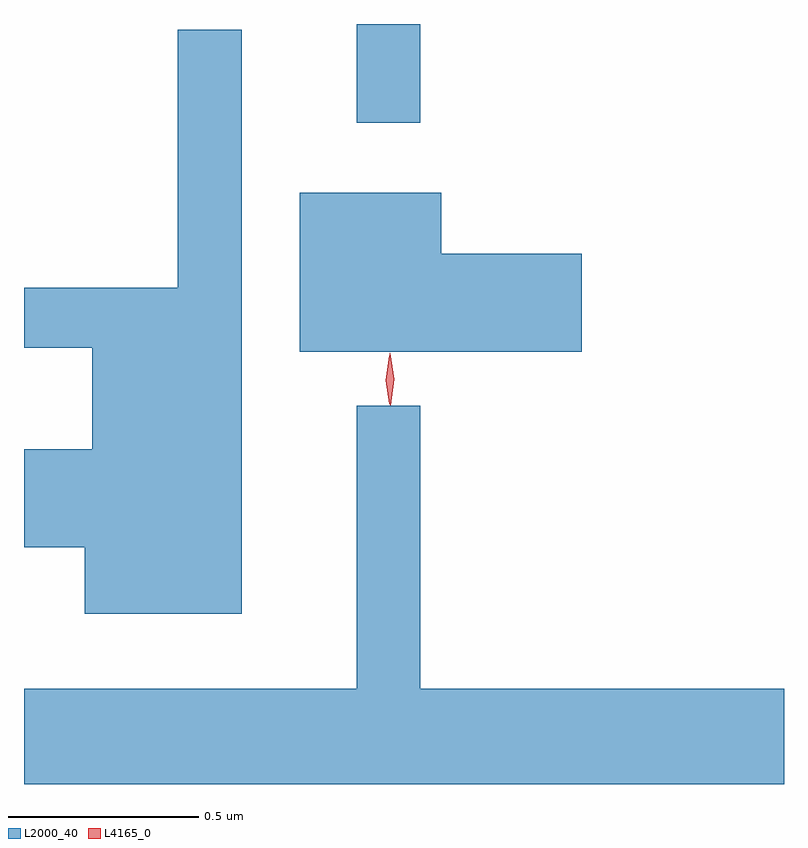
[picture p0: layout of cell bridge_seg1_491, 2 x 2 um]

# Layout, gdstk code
import gdstk
lib = gdstk.Library(unit=1e-6, precision=1e-09)
def R(c, l, rs):  # rectangles x0, y0, x1, y1
    for r in rs: c.add(gdstk.rectangle(r[:2], r[2:], *l))
def P(c, l, *ps):  # polygons
    for p in ps: c.add(gdstk.Polygon(p, *l))
L2000_40 = (2000, 40)
L4165_0 = (4165, 0)

bridge_seg1_491 = lib.new_cell('bridge_seg1_491')
R(bridge_seg1_491, L2000_40, [(233.031,845.833,233.199,846.093)])
P(bridge_seg1_491, L2000_40, [(232.729,846.078),(232.561,846.078),(232.561,845.399),(232.156,845.399),(232.156,845.241),(232.336,845.241),(232.336,844.974),(232.156,844.974),(232.156,844.716),(232.316,844.716),(232.316,844.541),(232.729,844.541)],
  [(233.624,845.489),(233.254,845.489),(233.254,845.649),(232.881,845.649),(232.881,845.231),(233.624,845.231)],
  [(234.156,844.344),(233.199,844.344),(233.199,845.088),(233.031,845.088),(233.031,844.344),(232.156,844.344),(232.156,844.093),(234.156,844.093)])
P(bridge_seg1_491, L4165_0, [(233.118,845.093),(233.117,845.094),(233.108,845.156),(233.117,845.22),(233.118,845.22),(233.118,845.22),(233.128,845.156),(233.118,845.094)],
  [(233.12,845.09),(233.11,845.158),(233.119,845.226),(233.12,845.226),(233.12,845.226),(233.13,845.158),(233.121,845.09),(233.121,845.09)])

lib.write_gds('bridge_seg1_491.gds')
